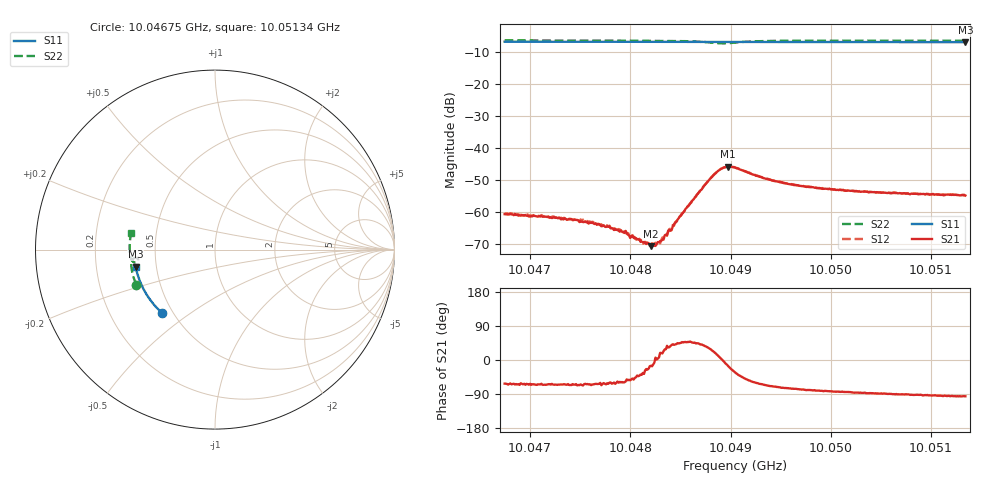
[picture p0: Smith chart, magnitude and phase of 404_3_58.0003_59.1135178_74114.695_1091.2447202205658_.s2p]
#  HZ  S  RI  R  50.00
! Rohde & Schwarz Vector Network Analyzer
! Rohde-Schwarz,ZNB20-2Port,1311601062101988,3.16
! Created: UTC 3/21/2024, 1:08:22 AM
! freq[Hz]  re:S11  im:S11  re:S21  im:S21  re:S12  im:S12  re:S22  im:S22
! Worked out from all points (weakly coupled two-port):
!   401 points, 10.04675 GHz to 10.05134 GHz, reference 50 ohm
!   highest |S21| = -45.90 dB at 10.04898 GHz (marker M1); lowest = -70.7 dB at 10.04821 GHz (marker M2)
!   lowest |S11| = -6.9 dB at 10.05134 GHz (marker M3), VSWR 2.65, Z = 19.1 - j4.58 ohm
!   |S11| at or under -10 dB: nowhere
!   |S22| runs from -7.3 to -6.4 dB; largest |S21 - S12| = 0.00037
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1.0046747e10  -0.295 -0.3531  0.000427 -0.000815  0.000507 -0.000814  -0.4391 -0.1949
1.0047161e10  -0.3148 -0.3343  0.000349 -0.000764  0.000415 -0.000755  -0.4489 -0.1687
1.0047459e10  -0.3284 -0.3201  0.000331 -0.000668  0.000369 -0.000674  -0.4552 -0.1493
1.0047517e10  -0.3311 -0.3172  0.000286 -0.00064  0.000326 -0.000633  -0.456 -0.1455
1.0047678e10  -0.3379 -0.3093  0.000291 -0.000582  0.000313 -0.000553  -0.4591 -0.1345
1.0047804e10  -0.3433 -0.3029  0.000282 -0.000475  0.000317 -0.000462  -0.4608 -0.1256
1.004793e10  -0.3486 -0.2963  0.000244 -0.000412  0.000284 -0.000399  -0.4628 -0.1167
1.0047999e10  -0.3515 -0.2927  0.000232 -0.000313  0.000303 -0.000348  -0.4637 -0.1118
1.0048137e10  -0.357 -0.2857  0.000267 -0.000199  0.000249 -0.000152  -0.4652 -0.1013
1.0048206e10  -0.3597 -0.2819  0.00028 -7.6e-05  0.00031 -6.75e-05  -0.4657 -0.096
1.0048252e10  -0.3615 -0.2796  0.000292 3.24e-05  0.000328 2.59e-05  -0.4659 -0.0924
1.0048287e10  -0.3628 -0.2778  0.000339 3.92e-05  0.000326 5.05e-05  -0.4661 -0.0895
1.004839e10  -0.3668 -0.2721  0.000433 0.000291  0.00044 0.000309  -0.4662 -0.0808
1.0048574e10  -0.3735 -0.2621  0.000822 0.000903  0.000776 0.00094  -0.463 -0.0636
1.0048815e10  -0.3818 -0.2487  0.00317 0.00149  0.00313 0.00173  -0.441 -0.0452
1.0048895e10  -0.3844 -0.2442  0.00455 0.000507  0.00454 0.000797  -0.4298 -0.0517
1.0048976e10  -0.3869 -0.2397  0.00488 -0.00138  0.00499 -0.00104  -0.4298 -0.0653
1.0049045e10  -0.3892 -0.2359  0.00416 -0.00266  0.00435 -0.00238  -0.4389 -0.0719
1.0049435e10  -0.4017 -0.2134  0.00104 -0.00285  0.00122 -0.00284  -0.4706 -0.0444
1.0049814e10  -0.4123 -0.191  0.000422 -0.0024  0.000551 -0.00235  -0.4756 -0.0138
1.0050584e10  -0.43 -0.1436  2.58e-05 -0.00198  0.000126 -0.00197  -0.4747 0.0405
1.0051342e10  -0.4418 -0.0955  -0.000178 -0.00179  -0.000115 -0.00181  -0.4672 0.0912
